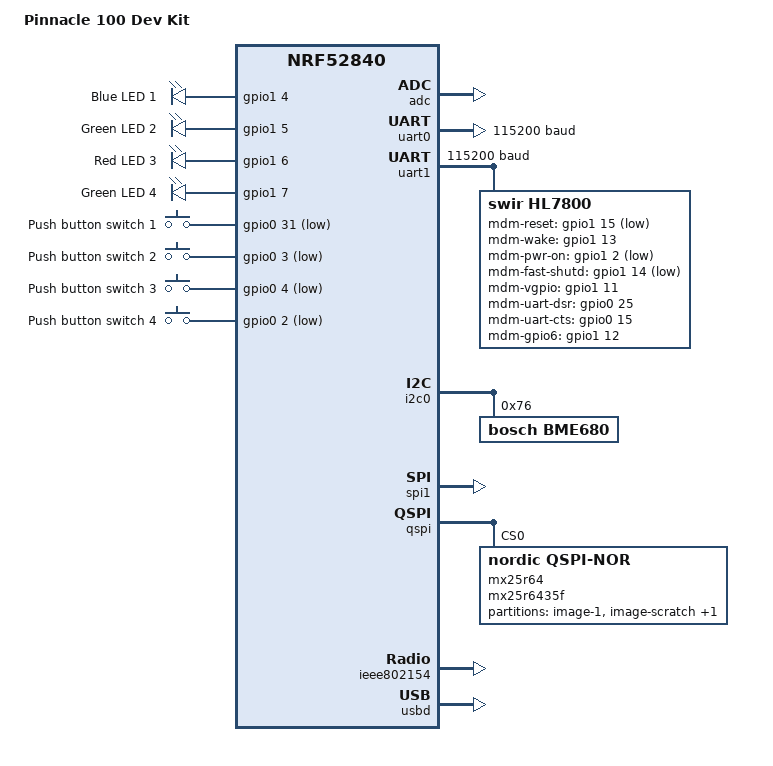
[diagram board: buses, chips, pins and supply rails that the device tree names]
/*
 * Copyright (c) 2019 Laird Connectivity
 *
 * SPDX-License-Identifier: Apache-2.0
 */

/dts-v1/;
#include <nordic/nrf52840_qiaa.dtsi>
#include "pinnacle_100_dvk-pinctrl.dtsi"

/ {
	model = "Pinnacle 100 Dev Kit";
	compatible = "lairdconnect,pinnacle-100-dvk";

	chosen {
		zephyr,console = &uart0;
		zephyr,shell-uart = &uart0;
		zephyr,uart-mcumgr = &uart0;
		zephyr,bt-mon-uart = &uart0;
		zephyr,sram = &sram0;
		zephyr,flash = &flash0;
		zephyr,code-partition = &slot0_partition;
		zephyr,ieee802154 = &ieee802154;
	};

	leds {
		compatible = "gpio-leds";
		led1: led_1 {
			gpios = <&gpio1 4 GPIO_ACTIVE_HIGH>;
			label = "Blue LED 1";
		};
		led2: led_2 {
			gpios = <&gpio1 5 GPIO_ACTIVE_HIGH>;
			label = "Green LED 2";
		};
		led3: led_3 {
			gpios = <&gpio1 6 GPIO_ACTIVE_HIGH>;
			label = "Red LED 3";
		};
		led4: led_4 {
			gpios = <&gpio1 7 GPIO_ACTIVE_HIGH>;
			label = "Green LED 4";
		};
	};

	buttons {
		compatible = "gpio-keys";
		button1: button_1 {
			gpios = <&gpio0 31 (GPIO_PULL_UP | GPIO_ACTIVE_LOW)>;
			label = "Push button switch 1";
		};
		button2: button_2 {
			gpios = <&gpio0 3 (GPIO_PULL_UP | GPIO_ACTIVE_LOW)>;
			label = "Push button switch 2";
		};
		button3: button_3 {
			gpios = <&gpio0 4 (GPIO_PULL_UP | GPIO_ACTIVE_LOW)>;
			label = "Push button switch 3";
		};
		button4: button_4 {
			gpios = <&gpio0 2 (GPIO_PULL_UP | GPIO_ACTIVE_LOW)>;
			label = "Push button switch 4";
		};
	};

	/* These aliases are provided for compatibility with samples */
	aliases {
		led0 = &led1;
		led1 = &led2;
		led2 = &led3;
		led3 = &led4;
		sw0 = &button1;
		sw1 = &button2;
		sw2 = &button3;
		sw3 = &button4;
		mcuboot-button0 = &button1;
		mcuboot-led0 = &led1;
		watchdog0 = &wdt0;
	};
};

&adc {
	status ="okay";
};

&gpiote {
	status ="okay";
};

&gpio0 {
	status ="okay";
};

&gpio1 {
	status ="okay";
};

&uart0 {
	compatible = "nordic,nrf-uart";
	status = "okay";
	current-speed = <115200>;
	pinctrl-0 = <&uart0_default>;
	pinctrl-1 = <&uart0_sleep>;
	pinctrl-names = "default", "sleep";
};

&uart1 {
	compatible = "nordic,nrf-uarte";
	status = "okay";
	current-speed = <115200>;
	hw-flow-control;
	pinctrl-0 = <&uart1_default>;
	pinctrl-1 = <&uart1_sleep>;
	pinctrl-names = "default", "sleep";
	hl7800 {
		compatible = "swir,hl7800";
		status = "okay";
		mdm-reset-gpios = <&gpio1 15 (GPIO_OPEN_DRAIN | GPIO_ACTIVE_LOW)>;
		mdm-wake-gpios = <&gpio1 13 (GPIO_OPEN_SOURCE | GPIO_ACTIVE_HIGH)>;
		mdm-pwr-on-gpios = <&gpio1 2 (GPIO_OPEN_DRAIN | GPIO_ACTIVE_LOW)>;
		mdm-fast-shutd-gpios = <&gpio1 14 (GPIO_OPEN_DRAIN | GPIO_ACTIVE_LOW)>;
		mdm-vgpio-gpios = <&gpio1 11 0>;
		mdm-uart-dsr-gpios = <&gpio0 25 0>;
		mdm-uart-cts-gpios = <&gpio0 15 0>;
		mdm-gpio6-gpios = <&gpio1 12 0>;
	};
};

&i2c0 {
	compatible = "nordic,nrf-twi";
	status = "okay";

	pinctrl-0 = <&i2c0_default>;
	pinctrl-1 = <&i2c0_sleep>;
	pinctrl-names = "default", "sleep";
	bme680@76 {
		compatible = "bosch,bme680";
		status = "okay";
		reg = <0x76>;
	};
};

&spi0 {
	compatible = "nordic,nrf-spi";
	/* Cannot be used together with i2c0. */
	/* status = "okay"; */
	pinctrl-0 = <&spi0_default>;
	pinctrl-1 = <&spi0_sleep>;
	pinctrl-names = "default", "sleep";
};

&spi1 {
	compatible = "nordic,nrf-spi";
	status = "okay";
	pinctrl-0 = <&spi1_default>;
	pinctrl-1 = <&spi1_sleep>;
	pinctrl-names = "default", "sleep";
};

&qspi {
	status = "okay";
	pinctrl-0 = <&qspi_default>;
	pinctrl-1 = <&qspi_sleep>;
	pinctrl-names = "default", "sleep";
	mx25r64: mx25r6435f@0 {
		compatible = "nordic,qspi-nor";
		reg = <0>;
		writeoc = "pp4io";
		readoc = "read4io";
		sck-frequency = <8000000>;
		jedec-id = [c2 28 17];
		size = <67108864>;
		has-dpd;
		t-enter-dpd = <10000>;
		t-exit-dpd = <35000>;
	};
};

&ieee802154 {
	status = "okay";
};

&flash0 {
	partitions {
		compatible = "fixed-partitions";
		#address-cells = <1>;
		#size-cells = <1>;

		/* 96K */
		boot_partition: partition@0 {
			label = "mcuboot";
			reg = <0x00000000 0x00018000>;
		};
		/* 896K */
		slot0_partition: partition@18000 {
			label = "image-0";
			reg = <0x00018000 0x000E0000>;
		};

		/*
		 * The flash starting at 0x000f8000 and ending at
		 * 0x000fffff is reserved for use by the application.
		 */

		/*
		 * Storage partition will be used by FCB/NVS
		 * if enabled. 32K
		 */
		storage_partition: partition@f8000 {
			label = "storage";
			reg = <0x000f8000 0x00008000>;
		};
	};
};

&mx25r64 {
	partitions {
		compatible = "fixed-partitions";
		#address-cells = <1>;
		#size-cells = <1>;

		/* 896K */
		slot1_partition: partition@0 {
			label = "image-1";
			reg = <0x00000000 0x000E0000>;
		};
		/* 128K */
		scratch_partition: partition@E0000 {
			label = "image-scratch";
			reg = <0x000E0000 0x00020000>;
		};
		/* 7MB */
		lfs_partition: partition@100000 {
			label = "lfs_storage";
			reg = <0x00100000 0x00700000>;
		};
	};
};

zephyr_udc0: &usbd {
	compatible = "nordic,nrf-usbd";
	status = "okay";
};
